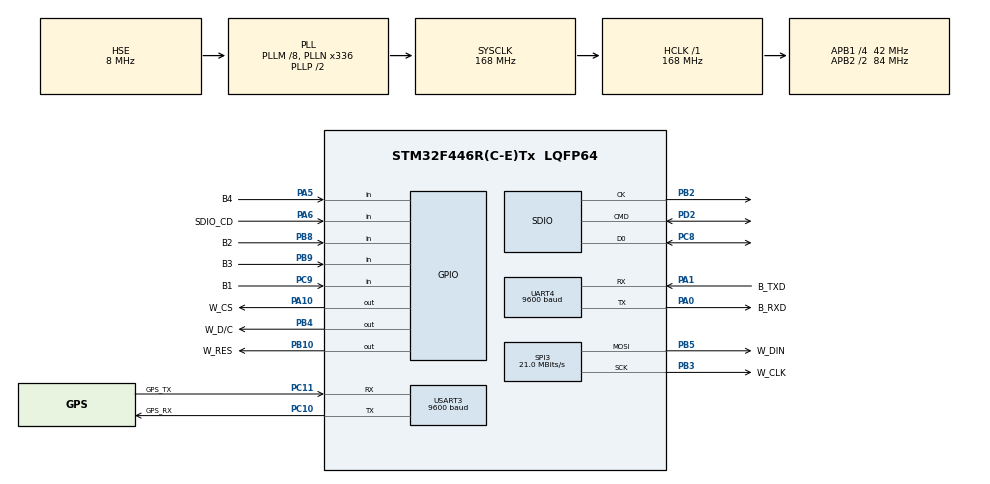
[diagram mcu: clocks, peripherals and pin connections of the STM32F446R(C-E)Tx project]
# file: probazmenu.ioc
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FATFS.BSP.number=1
FATFS0.BSP.STBoard=false
FATFS0.BSP.api=Unknown
FATFS0.BSP.i2caddr=0
FATFS0.BSP.instance=PA6
FATFS0.BSP.ip=GPIO
FATFS0.BSP.mode=Input
FATFS0.BSP.name=Detect_SDIO
FATFS0.BSP.solution=PA6
Mcu.Family=STM32F4
Mcu.Name=STM32F446R(C-E)Tx
Mcu.Package=LQFP64
NVIC.PriorityGroup=NVIC_PRIORITYGROUP_0
NVIC.USART3_IRQn=true\:0\:0\:false\:false\:true\:true
PA0-WKUP.GPIO_Label=B_RXD
PA0-WKUP.Mode=Asynchronous
PA0-WKUP.Signal=UART4_TX
PA1.GPIO_Label=B_TXD
PA1.Mode=Asynchronous
PA1.Signal=UART4_RX
PA10.GPIO_Label=W_CS
PA10.Signal=GPIO_Output
PA5.GPIO_Label=B4
PA5.GPIO_PuPd=GPIO_PULLUP
PA5.Signal=GPIO_Input
PA6.GPIO_Label=SDIO_CD
PA6.GPIO_PuPd=GPIO_NOPULL
PA6.Signal=GPIO_Input
PB10.GPIO_Label=W_RES
PB10.Signal=GPIO_Output
PB2.Mode=SD_1_bit
PB2.Signal=SDIO_CK
PB3.GPIO_Label=W_CLK
PB3.Mode=TX_Only_Simplex_Unidirect_Master
PB3.Signal=SPI3_SCK
PB4.GPIO_Label=W_D/C
PB4.Signal=GPIO_Output
PB5.GPIO_Label=W_DIN
PB5.Mode=TX_Only_Simplex_Unidirect_Master
PB5.Signal=SPI3_MOSI
PB8.GPIO_Label=B2
PB8.GPIO_PuPd=GPIO_PULLUP
PB8.Signal=GPIO_Input
PB9.GPIO_Label=B3
PB9.GPIO_PuPd=GPIO_PULLUP
PB9.Signal=GPIO_Input
PC10.GPIO_Label=GPS_RX
PC10.Mode=Asynchronous
PC10.Signal=USART3_TX
PC11.GPIO_Label=GPS_TX
PC11.Mode=Asynchronous
PC11.Signal=USART3_RX
PC8.Mode=SD_1_bit
PC8.Signal=SDIO_D0
PC9.GPIO_Label=B1
PC9.GPIO_PuPd=GPIO_PULLUP
PC9.Signal=GPIO_Input
PD2.Mode=SD_1_bit
PD2.Signal=SDIO_CMD
PH0-OSC_IN.Mode=HSE-External-Oscillator
PH0-OSC_IN.Signal=RCC_OSC_IN
PH1-OSC_OUT.Mode=HSE-External-Oscillator
PH1-OSC_OUT.Signal=RCC_OSC_OUT
ProjectManager.HeapSize=0x200
ProjectManager.StackSize=0x400
ProjectManager.TargetToolchain=SW4STM32
RCC.48MHZClocksFreq_Value=84000000
RCC.AHBFreq_Value=168000000
RCC.APB1CLKDivider=RCC_HCLK_DIV4
RCC.APB1Freq_Value=42000000
RCC.APB1TimFreq_Value=84000000
RCC.APB2CLKDivider=RCC_HCLK_DIV2
RCC.APB2Freq_Value=84000000
RCC.APB2TimFreq_Value=168000000
RCC.CortexFreq_Value=168000000
RCC.FLatency-AdvancedSettings=FLASH_LATENCY_5
RCC.HCLKFreq_Value=168000000
RCC.HSE_VALUE=8000000
RCC.HSI_VALUE=16000000
RCC.LSE_VALUE=32.768
RCC.PLLM=8
RCC.PLLN=336
RCC.PLLQ=7
RCC.PLLSourceVirtual=RCC_PLLSOURCE_HSE
RCC.SYSCLKFreq_VALUE=168000000
RCC.SYSCLKSource=RCC_SYSCLKSOURCE_PLLCLK
RCC.USBFreq_Value=48000000
RCC.VCOOutputFreq_Value=336000000
SPI3.CalculateBaudRate=21.0 MBits/s
SPI3.Direction=SPI_DIRECTION_2LINES
SPI3.Mode=SPI_MODE_MASTER
SPI3.VirtualType=VM_MASTER
UART4.BaudRate=9600
UART4.VirtualMode=Asynchronous
USART3.BaudRate=9600
USART3.VirtualMode=VM_ASYNC
VP_FATFS_VS_SDIO.Mode=SDIO
board=NUCLEO-F446RE

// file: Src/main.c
/* USER CODE BEGIN Header */
/**
  ******************************************************************************
  * @file           : main.c
  * @brief          : Main program body
  ******************************************************************************
  ** This notice applies to any and all portions of this file
  * that are not between comment pairs USER CODE BEGIN and
  * USER CODE END. Other portions of this file, whether
  * inserted by the user or by software development tools
  * are owned by their respective copyright owners.
  *
  * COPYRIGHT(c) 2019 STMicroelectronics
  *
  * Redistribution and use in source and binary forms, with or without modification,
  * are permitted provided that the following conditions are met:
  *   1. Redistributions of source code must retain the above copyright notice,
  *      this list of conditions and the following disclaimer.
  *   2. Redistributions in binary form must reproduce the above copyright notice,
  *      this list of conditions and the following disclaimer in the documentation
  *      and/or other materials provided with the distribution.
  *   3. Neither the name of STMicroelectronics nor the names of its contributors
  *      may be used to endorse or promote products derived from this software
  *      without specific prior written permission.
  *
  * THIS SOFTWARE IS PROVIDED BY THE COPYRIGHT HOLDERS AND CONTRIBUTORS "AS IS"
  * AND ANY EXPRESS OR IMPLIED WARRANTIES, INCLUDING, BUT NOT LIMITED TO, THE
  * IMPLIED WARRANTIES OF MERCHANTABILITY AND FITNESS FOR A PARTICULAR PURPOSE ARE
  * DISCLAIMED. IN NO EVENT SHALL THE COPYRIGHT HOLDER OR CONTRIBUTORS BE LIABLE
  * FOR ANY DIRECT, INDIRECT, INCIDENTAL, SPECIAL, EXEMPLARY, OR CONSEQUENTIAL
  * DAMAGES (INCLUDING, BUT NOT LIMITED TO, PROCUREMENT OF SUBSTITUTE GOODS OR
  * SERVICES; LOSS OF USE, DATA, OR PROFITS; OR BUSINESS INTERRUPTION) HOWEVER
  * CAUSED AND ON ANY THEORY OF LIABILITY, WHETHER IN CONTRACT, STRICT LIABILITY,
  * OR TORT (INCLUDING NEGLIGENCE OR OTHERWISE) ARISING IN ANY WAY OUT OF THE USE
  * OF THIS SOFTWARE, EVEN IF ADVISED OF THE POSSIBILITY OF SUCH DAMAGE.
  *
  ******************************************************************************
  */
/* USER CODE END Header */

#include "main.h"
#include "fatfs.h"

/* USER CODE BEGIN Includes */
#include "./OLED/ssd1306.h"
#include "menu.h"
#include "gps.h"
#include "string.h"
#include <string.h>
#include "stdbool.h"
#include "functions.h"
/* USER CODE END Includes */

SD_HandleTypeDef hsd;

SPI_HandleTypeDef hspi3;

UART_HandleTypeDef huart4;
UART_HandleTypeDef huart3;

/* USER CODE BEGIN PV */

int trenningTimeSek = 0;
int trenningTimeMin = 0;
int trenningTimeHours = 0;
double distance = 0;
double dystansKM = 0;

HAL_SD_CardInfoTypeDef SDCardInfo;

int stan = 0;
int *x = &stan;

//czas wlaczenia ekranu
int czas_wlaczenia = 10;

bool otworz_plik = true;
bool utworzono_plik = false;

FATFS fatfs;
FIL myfile;
FRESULT fresult;

uint8_t buffer[50];
/* USER CODE END PV */

void SystemClock_Config(void);
static void MX_GPIO_Init(void);
static void MX_SDIO_SD_Init(void);
static void MX_SPI3_Init(void);
static void MX_UART4_Init(void);
static void MX_USART3_UART_Init(void);
/* USER CODE BEGIN PFP */

//wyslanie pliku
void bluetooth(){

		int numer_pliku = podaj_indeks();

		char str[10]=".txt";
		FIL fil;       /* File object */
	    char line[47]; /* Line buffer */
	    char debug_buffer[47];

	    char plik[7];
	    sprintf(plik, "%d%s", numer_pliku, str);

	    /* Register work area to the default drive */
	    if(f_mount(&fatfs, "", 0)){
	    	HAL_UART_Transmit(&huart4, (uint8_t *)line, sprintf(line, " mount "), 300);
	    }

	    /* Open a text file */
	    if(f_open(&fil, plik, FA_READ)){
	    	HAL_UART_Transmit(&huart4, (uint8_t *)line, sprintf(line, " plik %d otwarty ", numer_pliku), 300);
	    }

	    /* Read all lines and display it */
	    while (f_gets(line, sizeof line, &fil)){
	    	sprintf(debug_buffer,"%s", &line);
	    	HAL_UART_Transmit(&huart4, (uint8_t *)debug_buffer, strlen(debug_buffer), 300);
	    	//HAL_UART_Transmit(&huart6, (uint8_t *)line, sprintf(line, " srodek pliku "), 300);
	    }

	    /* Close the file */
	    if( f_close(&fil)){
	    	 	HAL_UART_Transmit(&huart4, (uint8_t *)line, sprintf(line, " plik zamkniety "), 300);
	   	 }

}

void zmien(){
	if(*x == 0){
		*x = 1;
	} else{
		*x = 0;
		menu_refresh();
	}
}

/* USER CODE END PFP */

/* USER CODE BEGIN 0 */

// przechowuje bufory i liczniki znakow oraz aktualne dane odebrane z GPS
volatile struct gps_state gps_handle;
volatile uint8_t recv_char;

void HAL_UART_RxCpltCallback(UART_HandleTypeDef * uart) {
	if (uart == &huart3) {
		//zapisnaie znakow do bufora
		gps_recv_char(&gps_handle, recv_char);
		HAL_UART_Receive_IT(&huart3, &recv_char, 1);
	}
}

void wlaczenie_ekranu(void){

	czas_wlaczenia = 10;

}

/* USER CODE END 0 */

int main(void)
{

  /* MCU Configuration--------------------------------------------------------*/

  /* Reset of all peripherals, Initializes the Flash interface and the Systick. */
  HAL_Init();

  /* Configure the system clock */
  SystemClock_Config();

  /* Initialize all configured peripherals */
  MX_GPIO_Init();
  MX_SDIO_SD_Init();
  MX_FATFS_Init();
  MX_SPI3_Init();
  MX_UART4_Init();
  MX_USART3_UART_Init();
  /* USER CODE BEGIN 2 */

  	gps_handle = gps_init(&huart3);
  	//wlaczenie obslugi przerwania interfejsu UART
  	HAL_UART_Receive_IT(&huart3, &recv_char, 1);

    char output_buffer[100];
    for (uint8_t i = 0; i < 100; i++)
        output_buffer[i] = '\0';

    ssd1306_Init();
    menu_refresh();
  /* USER CODE END 2 */

  /* Infinite loop */
  while (1)
  {

    /* USER CODE BEGIN 3 */

	  	  //przypisanie fukcji klawiszom
	  	  key_back_press();
	  	  key_enter_press();
	  	  key_next_press();
	  	  key_prev_press();

	  	  ssd1306_UpdateScreen();

	  	  //sygnalizowanie obecnosci karty w slocie
	  	  if(stan == 0){
			if(BSP_PlatformIsDetected())
			{
				ssd1306_SetCursor(90,50);
				ssd1306_WriteString("K:tak", Font_7x10, White);
			}else{
				ssd1306_SetCursor(90,50);
				ssd1306_WriteString("K:nie", Font_7x10, White);

			}
	  	  }

	  	  if(stan == 1){

	  		  if(otworz_plik == true){
	  			  otworz_plik = false;
					  if(BSP_SD_Init()==MSD_OK)

				  {
						  char str[10]=".txt";
						  char calosc[10];

						  int i = sprawdz_pliki1() + 1;

						  sprintf(calosc, "%d%s", i, str);

					  fresult = f_mount(&fatfs, "", 1);
					  fresult = f_open(&myfile, calosc , FA_CREATE_ALWAYS|FA_WRITE);

					  if(fresult == FR_OK){

						  ssd1306_Fill(Black);
						  						  ssd1306_SetCursor(46, 20);

						  						  ssd1306_WriteString(calosc, Font_7x10, White);

						 ssd1306_SetCursor(22, 30);
						 ssd1306_WriteString("Plik utworzony", Font_7x10, White);
						 ssd1306_UpdateScreen();
						 HAL_Delay(500);
						 utworzono_plik = true;

					  }
					  else{
						  utworzono_plik = false;
						  ssd1306_Fill(Black);
						  ssd1306_SetCursor(22, 20);
						  ssd1306_WriteString("Nie utworzono", Font_7x10, White);
						  ssd1306_SetCursor(48, 30);
						  ssd1306_WriteString("pliku.", Font_7x10, White);
						  ssd1306_SetCursor(8, 40);
						  ssd1306_WriteString("Sprobuj ponownie", Font_7x10, White);
						  ssd1306_UpdateScreen();
						  HAL_Delay(1000);
						  *x = 0;//zmiana stanu na 1, przejscie do glownego menu
					  }

				  }
	  		  }

	  		  //gdy wcisnieto przycisk i poprawnie utworzono plik
	  		if( (HAL_GPIO_ReadPin(Button3_GPIO_Port, Button3_Pin) )  && (utworzono_plik == true)) {

	  			if(HAL_GPIO_ReadPin(Button2_GPIO_Port, Button2_Pin) == 0){
	  				czas_wlaczenia = wlacz_ekran();
	  			}

	  			if(czas_wlaczenia > 0){
	  				czas_wlaczenia--;
	  				//ekran wlaczany
	  				ssd1306_WriteCommand(0xAF);
	  			}else{
	  				//po 10 sekundach wygas ekran
	  				ssd1306_WriteCommand(0xAE);
	  			}

	  			ssd1306_UpdateScreen();
	  			sprintf(output_buffer, "\r\n");
	  			ssd1306_Fill(Black);

	  			//HAL_UART_Transmit(&huart2, output_buffer, strlen(output_buffer), 100);
	  			sprintf(output_buffer, "Data: %02d-%02d-20%02d   \r\n", gps_handle.date_day, gps_handle.date_mounth, gps_handle.date_year);
	  			//HAL_UART_Transmit(&huart2, output_buffer, strlen(output_buffer), 100);

	  			sprintf(output_buffer, "Godzina:%02d:%02d:%02d   \r\n", (gps_handle.time_hour + 1), gps_handle.time_min, gps_handle.time_sec);
	  			//HAL_UART_Transmit(&huart2, output_buffer, strlen(output_buffer), 100);

	  			ssd1306_SetCursor(2, 0);
	  			ssd1306_WriteString(output_buffer, Font_7x10, White);
	  			ssd1306_SetCursor(120, 0);
	  			ssd1306_WriteString("        ", Font_7x10, White);

	  			//do pliku
	  			sprintf(output_buffer, "%02d:%02d:%02d ", gps_handle.time_hour, gps_handle.time_min, gps_handle.time_sec);
	  			f_printf(&myfile, output_buffer);
	  			//HAL_UART_Transmit(&huart2, output_buffer, strlen(output_buffer), 100);

	  			sprintf(output_buffer, "Szerokosc geograficzna: %f %c\r\n", gps_handle.latitude, gps_handle.latitude_direction);
	  			//HAL_UART_Transmit(&huart2, output_buffer, strlen(output_buffer), 100);

	  			//do pliku szerokosc
	  			sprintf(output_buffer, "%f %c ", gps_handle.latitude, gps_handle.latitude_direction);
	  			f_printf(&myfile, output_buffer);

	  			sprintf(output_buffer, "Dlugosc geograficzna  : %f %c\r\n", gps_handle.longitude, gps_handle.longitude_direction);
	  			//HAL_UART_Transmit(&huart2, output_buffer, strlen(output_buffer), 100);

	  			//do pliku d³ugosc
	  			sprintf(output_buffer, "%f %c ", gps_handle.longitude, gps_handle.longitude_direction);
	  			f_printf(&myfile, output_buffer);

	  			sprintf(output_buffer, "Wysokosc: %f m n.p.m.\r\n", gps_handle.altitude);
	  			//HAL_UART_Transmit(&huart2, output_buffer, strlen(output_buffer), 100);

	  			//do pliku wysokosc
	  			sprintf(output_buffer, "%f \n", gps_handle.altitude);
	  			f_printf(&myfile, output_buffer);

	  			sprintf(output_buffer, "%f\r\n", gps_handle.speed_kilometers);
	  			//HAL_UART_Transmit(&huart2, output_buffer, strlen(output_buffer), 100);

	  			ssd1306_SetCursor(30, 35);
	  			ssd1306_WriteString(output_buffer, Font_11x18, White);
	  			ssd1306_SetCursor(75, 35);
	  			ssd1306_WriteString("km/h        ", Font_11x18, White);

	  			sprintf(output_buffer, "Ilosc satelit: %d\r\n", gps_handle.satelites_number);
	  			//HAL_UART_Transmit(&huart2, output_buffer, strlen(output_buffer), 100);

	  			//wyswietlanie czasu treningu
	  			trenningTimeSek++;
	  			if (trenningTimeSek == 60){
	  				trenningTimeMin++;
	  			trenningTimeSek = 0;
	  			}
	  			if (trenningTimeMin == 60){
	  				trenningTimeHours++;
	  				trenningTimeMin = 0;
	  			}

	  			sprintf(output_buffer, "Czas: %02d:%02d:%02d\r\n", trenningTimeHours, trenningTimeMin, trenningTimeSek); //konwersja uint32_t na string
	  			//HAL_UART_Transmit(&huart2, output_buffer, strlen(output_buffer), 100);

	  			ssd1306_SetCursor(2, 20);
	  			ssd1306_WriteString(output_buffer, Font_7x10, White);
	  			ssd1306_SetCursor(100, 20);
	  			ssd1306_WriteString("   ", Font_7x10, White);

	  			//wyswietlanie pokonanej odleglosci
	  			//odswiezanie co sekunde 1h = 3600s
	  			dystansKM = gps_handle.speed_kilometers / 3600;
	  			distance = distance + dystansKM;

	  			sprintf(output_buffer, "Dystans:%f\r\n", distance);
	  			//HAL_UART_Transmit(&huart2, output_buffer, strlen(output_buffer), 100);

	  			ssd1306_SetCursor(2, 10);
	  			ssd1306_WriteString(output_buffer, Font_7x10, White);
	  			ssd1306_SetCursor(115, 10);
	  			ssd1306_WriteString("km       ", Font_7x10, White);

	  			HAL_Delay(1000);
	  		} else{
	  			f_close(&myfile);
	  			*x = 0;
	  			utworzono_plik = false;
	  			otworz_plik = true;
	  			gps_handle.speed_kilometers = 0;
	  			trenningTimeSek = 0;
	  			trenningTimeMin = 0;
	  			trenningTimeHours = 0;
	  			ssd1306_WriteCommand(0xAF);
	  			menu_refresh();

	  		}
	   }
  }
  /* USER CODE END 3 */
}

void SystemClock_Config(void)
{
  RCC_OscInitTypeDef RCC_OscInitStruct = {0};
  RCC_ClkInitTypeDef RCC_ClkInitStruct = {0};
  RCC_PeriphCLKInitTypeDef PeriphClkInitStruct = {0};

  /**Configure the main internal regulator output voltage
  */
  __HAL_RCC_PWR_CLK_ENABLE();
  __HAL_PWR_VOLTAGESCALING_CONFIG(PWR_REGULATOR_VOLTAGE_SCALE1);
  /**Initializes the CPU, AHB and APB busses clocks
  */
  RCC_OscInitStruct.OscillatorType = RCC_OSCILLATORTYPE_HSE;
  RCC_OscInitStruct.HSEState = RCC_HSE_ON;
  RCC_OscInitStruct.PLL.PLLState = RCC_PLL_ON;
  RCC_OscInitStruct.PLL.PLLSource = RCC_PLLSOURCE_HSE;
  RCC_OscInitStruct.PLL.PLLM = 8;
  RCC_OscInitStruct.PLL.PLLN = 336;
  RCC_OscInitStruct.PLL.PLLP = RCC_PLLP_DIV2;
  RCC_OscInitStruct.PLL.PLLQ = 7;
  RCC_OscInitStruct.PLL.PLLR = 2;
  if (HAL_RCC_OscConfig(&RCC_OscInitStruct) != HAL_OK)
  {
    Error_Handler();
  }
  /**Initializes the CPU, AHB and APB busses clocks
  */
  RCC_ClkInitStruct.ClockType = RCC_CLOCKTYPE_HCLK|RCC_CLOCKTYPE_SYSCLK
                              |RCC_CLOCKTYPE_PCLK1|RCC_CLOCKTYPE_PCLK2;
  RCC_ClkInitStruct.SYSCLKSource = RCC_SYSCLKSOURCE_PLLCLK;
  RCC_ClkInitStruct.AHBCLKDivider = RCC_SYSCLK_DIV1;
  RCC_ClkInitStruct.APB1CLKDivider = RCC_HCLK_DIV4;
  RCC_ClkInitStruct.APB2CLKDivider = RCC_HCLK_DIV2;

  if (HAL_RCC_ClockConfig(&RCC_ClkInitStruct, FLASH_LATENCY_5) != HAL_OK)
  {
    Error_Handler();
  }
  PeriphClkInitStruct.PeriphClockSelection = RCC_PERIPHCLK_SDIO|RCC_PERIPHCLK_CLK48;
  PeriphClkInitStruct.Clk48ClockSelection = RCC_CLK48CLKSOURCE_PLLQ;
  PeriphClkInitStruct.SdioClockSelection = RCC_SDIOCLKSOURCE_CLK48;
  if (HAL_RCCEx_PeriphCLKConfig(&PeriphClkInitStruct) != HAL_OK)
  {
    Error_Handler();
  }
}

static void MX_SDIO_SD_Init(void)
{

  hsd.Instance = SDIO;
  hsd.Init.ClockEdge = SDIO_CLOCK_EDGE_RISING;
  hsd.Init.ClockBypass = SDIO_CLOCK_BYPASS_DISABLE;
  hsd.Init.ClockPowerSave = SDIO_CLOCK_POWER_SAVE_DISABLE;
  hsd.Init.BusWide = SDIO_BUS_WIDE_1B;
  hsd.Init.HardwareFlowControl = SDIO_HARDWARE_FLOW_CONTROL_DISABLE;
  hsd.Init.ClockDiv = 0;

}

static void MX_SPI3_Init(void)
{

  /* SPI3 parameter configuration*/
  hspi3.Instance = SPI3;
  hspi3.Init.Mode = SPI_MODE_MASTER;
  hspi3.Init.Direction = SPI_DIRECTION_2LINES;
  hspi3.Init.DataSize = SPI_DATASIZE_8BIT;
  hspi3.Init.CLKPolarity = SPI_POLARITY_LOW;
  hspi3.Init.CLKPhase = SPI_PHASE_1EDGE;
  hspi3.Init.NSS = SPI_NSS_SOFT;
  hspi3.Init.BaudRatePrescaler = SPI_BAUDRATEPRESCALER_2;
  hspi3.Init.FirstBit = SPI_FIRSTBIT_MSB;
  hspi3.Init.TIMode = SPI_TIMODE_DISABLE;
  hspi3.Init.CRCCalculation = SPI_CRCCALCULATION_DISABLE;
  hspi3.Init.CRCPolynomial = 10;
  if (HAL_SPI_Init(&hspi3) != HAL_OK)
  {
    Error_Handler();
  }

}

static void MX_UART4_Init(void)
{

  huart4.Instance = UART4;
  huart4.Init.BaudRate = 9600;
  huart4.Init.WordLength = UART_WORDLENGTH_8B;
  huart4.Init.StopBits = UART_STOPBITS_1;
  huart4.Init.Parity = UART_PARITY_NONE;
  huart4.Init.Mode = UART_MODE_TX_RX;
  huart4.Init.HwFlowCtl = UART_HWCONTROL_NONE;
  huart4.Init.OverSampling = UART_OVERSAMPLING_16;
  if (HAL_UART_Init(&huart4) != HAL_OK)
  {
    Error_Handler();
  }

}

static void MX_USART3_UART_Init(void)
{

  huart3.Instance = USART3;
  huart3.Init.BaudRate = 9600;
  huart3.Init.WordLength = UART_WORDLENGTH_8B;
  huart3.Init.StopBits = UART_STOPBITS_1;
  huart3.Init.Parity = UART_PARITY_NONE;
  huart3.Init.Mode = UART_MODE_TX_RX;
  huart3.Init.HwFlowCtl = UART_HWCONTROL_NONE;
  huart3.Init.OverSampling = UART_OVERSAMPLING_16;
  if (HAL_UART_Init(&huart3) != HAL_OK)
  {
    Error_Handler();
  }

}

static void MX_GPIO_Init(void)
{
  GPIO_InitTypeDef GPIO_InitStruct = {0};

  /* GPIO Ports Clock Enable */
  __HAL_RCC_GPIOH_CLK_ENABLE();
  __HAL_RCC_GPIOA_CLK_ENABLE();
  __HAL_RCC_GPIOB_CLK_ENABLE();
  __HAL_RCC_GPIOC_CLK_ENABLE();
  __HAL_RCC_GPIOD_CLK_ENABLE();

  /*Configure GPIO pin Output Level */
  HAL_GPIO_WritePin(GPIOB, W_RES_Pin|W_D_C_Pin, GPIO_PIN_RESET);

  /*Configure GPIO pin Output Level */
  HAL_GPIO_WritePin(W_CS_GPIO_Port, W_CS_Pin, GPIO_PIN_RESET);

  /*Configure GPIO pin : B4_Pin */
  GPIO_InitStruct.Pin = B4_Pin;
  GPIO_InitStruct.Mode = GPIO_MODE_INPUT;
  GPIO_InitStruct.Pull = GPIO_PULLUP;
  HAL_GPIO_Init(B4_GPIO_Port, &GPIO_InitStruct);

  /*Configure GPIO pin : SDIO_CD_Pin */
  GPIO_InitStruct.Pin = SDIO_CD_Pin;
  GPIO_InitStruct.Mode = GPIO_MODE_INPUT;
  GPIO_InitStruct.Pull = GPIO_NOPULL;
  HAL_GPIO_Init(SDIO_CD_GPIO_Port, &GPIO_InitStruct);

  /*Configure GPIO pins : W_RES_Pin W_D_C_Pin */
  GPIO_InitStruct.Pin = W_RES_Pin|W_D_C_Pin;
  GPIO_InitStruct.Mode = GPIO_MODE_OUTPUT_PP;
  GPIO_InitStruct.Pull = GPIO_NOPULL;
  GPIO_InitStruct.Speed = GPIO_SPEED_FREQ_LOW;
  HAL_GPIO_Init(GPIOB, &GPIO_InitStruct);

  /*Configure GPIO pin : B1_Pin */
  GPIO_InitStruct.Pin = B1_Pin;
  GPIO_InitStruct.Mode = GPIO_MODE_INPUT;
  GPIO_InitStruct.Pull = GPIO_PULLUP;
  HAL_GPIO_Init(B1_GPIO_Port, &GPIO_InitStruct);

  /*Configure GPIO pin : W_CS_Pin */
  GPIO_InitStruct.Pin = W_CS_Pin;
  GPIO_InitStruct.Mode = GPIO_MODE_OUTPUT_PP;
  GPIO_InitStruct.Pull = GPIO_NOPULL;
  GPIO_InitStruct.Speed = GPIO_SPEED_FREQ_LOW;
  HAL_GPIO_Init(W_CS_GPIO_Port, &GPIO_InitStruct);

  /*Configure GPIO pins : B2_Pin B3_Pin */
  GPIO_InitStruct.Pin = B2_Pin|B3_Pin;
  GPIO_InitStruct.Mode = GPIO_MODE_INPUT;
  GPIO_InitStruct.Pull = GPIO_PULLUP;
  HAL_GPIO_Init(GPIOB, &GPIO_InitStruct);

}

void Error_Handler(void)
{
}

/************************ (C) COPYRIGHT STMicroelectronics *****END OF FILE****/
